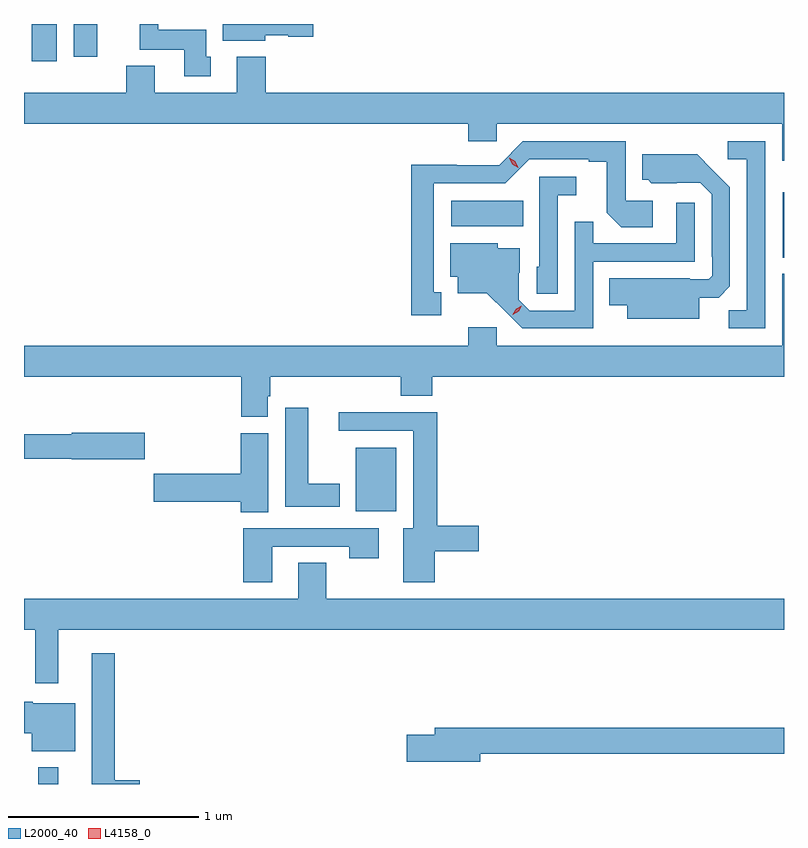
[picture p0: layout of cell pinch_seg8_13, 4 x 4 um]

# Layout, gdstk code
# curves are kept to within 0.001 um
import gdstk
lib = gdstk.Library(unit=1e-6, precision=1e-09)
def R(c, l, rs):  # rectangles x0, y0, x1, y1
    for r in rs: c.add(gdstk.rectangle(r[:2], r[2:], *l))
def P(c, l, *ps):  # polygons
    for p in ps: c.add(gdstk.Polygon(p, *l))
L2000_40 = (2000, 40)
L4158_0 = (4158, 0)

pinch_seg8_13 = lib.new_cell('pinch_seg8_13')
R(pinch_seg8_13, L2000_40, [(1032.527,1122.349,1032.631,1122.436), (1034.198,1123.784,1034.41,1124.119), (1036.445,1125.119,1036.452,1125.463), (1034.7,1125.284,1035.08,1125.418), (1032.494,1126.152,1032.625,1126.349), (1032.713,1126.176,1032.838,1126.349)])
P(pinch_seg8_13, L2000_40, [(1033.435,1126.176),(1033.411,1126.176),(1033.411,1126.318),(1033.158,1126.318),(1033.158,1126.349),(1033.06,1126.349),(1033.06,1126.214),(1033.295,1126.214),(1033.295,1126.074),(1033.435,1126.074)],
  [(1033.722,1126.289),(1033.842,1126.289),(1033.842,1126.282),(1033.975,1126.282),(1033.975,1126.349),(1033.499,1126.349),(1033.499,1126.262),(1033.722,1126.262)],
  [(1036.452,1125.988),(1033.724,1125.988),(1033.724,1126.177),(1033.571,1126.177),(1033.571,1125.988),(1033.141,1125.988),(1033.141,1126.129),(1032.989,1126.129),(1032.989,1125.988),(1032.452,1125.988),(1032.452,1125.824),(1034.789,1125.824),(1034.789,1125.731),(1034.94,1125.731),(1034.94,1125.824),(1036.442,1125.824),(1036.442,1125.63),(1036.452,1125.63)],
  [(1034.647,1124.937),(1034.608,1124.937),(1034.608,1125.51),(1034.985,1125.51),(1035.111,1125.636),(1035.425,1125.636),(1035.425,1125.624),(1035.519,1125.624),(1035.519,1125.356),(1035.595,1125.28),(1035.76,1125.28),(1035.76,1125.42),(1035.618,1125.42),(1035.618,1125.732),(1035.078,1125.732),(1034.952,1125.606),(1034.73,1125.606),(1034.73,1125.608),(1034.49,1125.608),(1034.49,1124.817),(1034.647,1124.817)],
  [(1036.353,1125.732),(1036.155,1125.732),(1036.155,1125.636),(1036.257,1125.636),(1036.257,1124.843),(1036.162,1124.843),(1036.162,1124.748),(1036.353,1124.748)],
  [(1036.006,1124.909),(1036.108,1124.909),(1036.167,1124.968),(1036.167,1125.49),(1035.995,1125.664),(1035.707,1125.664),(1035.707,1125.528),(1035.738,1125.528),(1035.754,1125.512),(1036.011,1125.513),(1036.071,1125.453),(1036.071,1125.124),(1036.074,1125.124),(1036.074,1125.024),(1036.056,1125.006),(1035.956,1125.006),(1035.956,1125.01),(1035.532,1125.01),(1035.532,1124.87),(1035.626,1124.87),(1035.626,1124.798),(1036.006,1124.798)],
  [(1035.261,1125.449),(1035.358,1125.449),(1035.358,1125.546),(1035.165,1125.546),(1035.165,1125.072),(1035.15,1125.072),(1035.15,1124.929),(1035.261,1124.929)],
  [(1035.447,1125.099),(1035.981,1125.099),(1035.981,1125.409),(1035.885,1125.409),(1035.885,1125.195),(1035.449,1125.195),(1035.449,1125.308),(1035.351,1125.308),(1035.351,1124.841),(1035.114,1124.841),(1035.057,1124.898),(1035.057,1125.04),(1035.061,1125.04),(1035.061,1125.169),(1034.946,1125.169),(1034.946,1125.196),(1034.696,1125.196),(1034.696,1125.02),(1034.735,1125.02),(1034.735,1124.933),(1034.887,1124.933),(1035.074,1124.748),(1035.447,1124.748)],
  [(1036.452,1125.034),(1036.442,1125.034),(1036.442,1124.656),(1034.94,1124.656),(1034.94,1124.752),(1034.789,1124.752),(1034.789,1124.656),(1032.452,1124.656),(1032.452,1124.492),(1033.595,1124.492),(1033.595,1124.281),(1033.735,1124.281),(1033.735,1124.391),(1033.748,1124.391),(1033.748,1124.492),(1034.435,1124.492),(1034.435,1124.393),(1034.6,1124.393),(1034.6,1124.492),(1036.452,1124.492)],
  [(1034.113,1123.93),(1033.948,1123.93),(1033.948,1124.329),(1033.826,1124.329),(1033.826,1123.808),(1034.113,1123.808)],
  [(1034.614,1123.574),(1034.845,1123.574),(1034.845,1123.709),(1034.627,1123.709),(1034.627,1124.306),(1034.109,1124.306),(1034.109,1124.208),(1034.501,1124.208),(1034.501,1123.696),(1034.447,1123.696),(1034.447,1123.41),(1034.614,1123.41)],
  [(1033.087,1124.199),(1032.702,1124.199),(1032.702,1124.191),(1032.452,1124.191),(1032.452,1124.062),(1032.702,1124.062),(1032.702,1124.057),(1033.087,1124.057)],
  [(1033.738,1124.196),(1033.592,1124.196),(1033.592,1123.982),(1033.134,1123.982),(1033.134,1123.835),(1033.592,1123.835),(1033.592,1123.78),(1033.738,1123.78)],
  [(1033.759,1123.599),(1034.164,1123.599),(1034.164,1123.536),(1034.32,1123.536),(1034.32,1123.695),(1033.607,1123.695),(1033.607,1123.41),(1033.759,1123.41)],
  [(1032.631,1123.16),(1036.452,1123.16),(1036.452,1123.324),(1034.043,1123.324),(1034.043,1123.514),(1033.895,1123.514),(1033.895,1123.324),(1032.452,1123.324),(1032.452,1123.16),(1032.51,1123.16),(1032.51,1122.879),(1032.631,1122.879)],
  [(1033.06,1122.37),(1032.93,1122.37),(1032.93,1123.036),(1032.809,1123.036),(1032.809,1122.349),(1033.06,1122.349)],
  [(1032.721,1122.775),(1032.498,1122.775),(1032.498,1122.783),(1032.452,1122.783),(1032.452,1122.617),(1032.494,1122.617),(1032.494,1122.521),(1032.721,1122.521)],
  [(1034.854,1122.508),(1036.452,1122.508),(1036.452,1122.644),(1034.615,1122.644),(1034.615,1122.608),(1034.466,1122.608),(1034.466,1122.466),(1034.854,1122.466)])
P(pinch_seg8_13, L4158_0, [(1035.025,1124.82),(1035.025,1124.821),(1035.042,1124.85),(1035.073,1124.865),(1035.073,1124.865),(1035.073,1124.865),(1035.056,1124.836),(1035.025,1124.82)],
  [(1035.054,1125.593),(1035.022,1125.612),(1035.005,1125.644),(1035.005,1125.645),(1035.005,1125.645),(1035.037,1125.626),(1035.054,1125.593),(1035.054,1125.593)])

lib.write_gds('pinch_seg8_13.gds')
